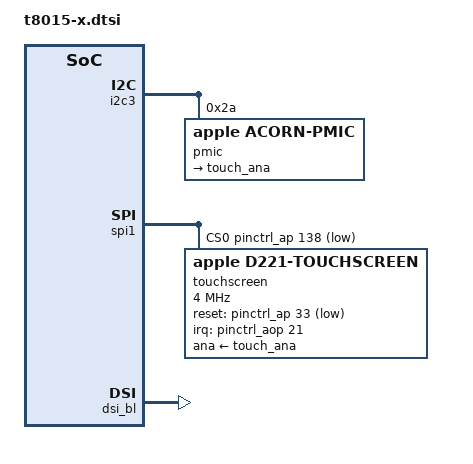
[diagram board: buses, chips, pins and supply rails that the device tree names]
// SPDX-License-Identifier: GPL-2.0+ OR MIT
/*
 * Apple iPhone X common device tree
 *
 * Copyright (c) 2022, Konrad Dybcio <konradybcio@kernel.org>
 */

#include "t8015.dtsi"
#include "t8015-common.dtsi"

/ {
	chassis-type = "handset";

	/* m1n1 copies the ADT's touch calibrations to this node. */
	aliases {
		touchscreen0 = &touchscreen;
	};
};

&i2c3 {
	status = "okay";

	pmic@2a {
		compatible = "apple,acorn-pmic";
		reg = <0x2a>;
		#address-cells = <1>;
		#size-cells = <1>;

		touch_ana: regulator-touch-analog {
			compatible = "apple,acorn-touch-analog-regulator";
			regulator-name = "touch-analog";
		};
	};
};

/* The touch controller ("hid-transport,k1"), chip select GPIO 0x8a. */
&spi1 {
	cs-gpios = <&pinctrl_ap 138 GPIO_ACTIVE_LOW>;
	status = "okay";

	touchscreen: touchscreen@0 {
		compatible = "apple,d221-touchscreen";
		reg = <0>;
		spi-max-frequency = <4000000>;
		interrupts-extended = <&pinctrl_aop 21 IRQ_TYPE_LEVEL_LOW>;
		reset-gpios = <&pinctrl_ap 33 GPIO_ACTIVE_LOW>;
		ana-supply = <&touch_ana>;
		clocks = <&touchclk>;
		firmware-name = "apple/d221-touch";
		touchscreen-size-x = <1125>;
		touchscreen-size-y = <2436>;
	};
};

/* The OLED panel's brightness, from the ADT's backlight node. */
&dsi_bl {
	max-brightness = <2047>;
	apple,min-dbv = <139>;
	default-brightness-level = <740>;
	status = "okay";
};
